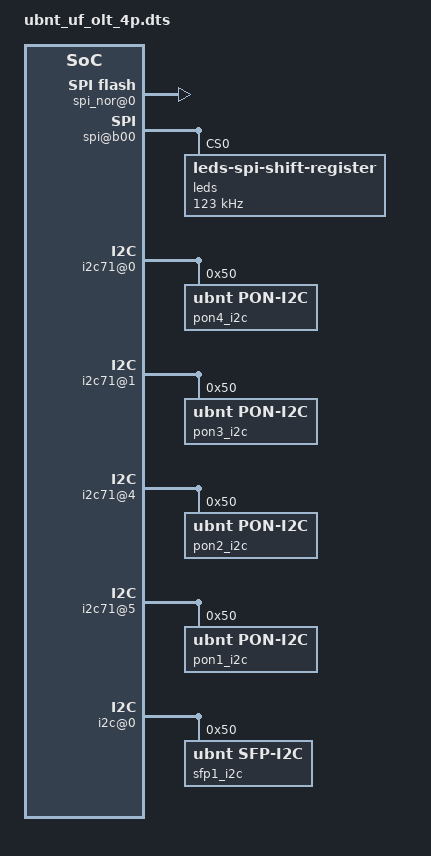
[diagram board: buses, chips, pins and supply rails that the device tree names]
/dts-v1/;
/plugin/;

/ {
	compatible = "ubiquiti,ufolt4p";

	fragment@0 {
		target-path = "/palmbus@1E000000/spi@b00";
		__overlay__ {
			#address-cells = <1>;
			#size-cells = <0>;
			leds {
				compatible = "leds-spi-shift-register";
				status = "ok";
				reg = <0>;
				spi-max-frequency = <123000>;
				words = <3>;
				#address-cells = <1>;
				#size-cells = <0>;
				pon1_green {
					reg = <8>;
				};
				pon1_white {
					reg = <9>;
				};
				pon2_green {
					reg = <10>;
				};
				pon2_white {
					reg = <11>;
				};
				pon3_green {
					reg = <12>;
				};
				pon3_white {
					reg = <13>;
				};
				pon4_green {
					reg = <14>;
				};
				pon4_white {
					reg = <15>;
				};
				sfp1_green {
					reg = <16>;
				};
				sfp1_white {
					reg = <17>;
				};
				mgmt_green {
					reg = <20>;
				};
				mgmt_orange {
					reg = <21>;
				};
			};
		};
	};
	fragment@1 {
		target-path = "/palmbus@1E000000/i2c@900/i2c-switch@71/i2c71@0";
		__overlay__ {
			#address-cells = <1>;
			#size-cells = <0>;
			pon4_i2c: pon@1 {
				compatible = "ubnt,pon-i2c";
				reg = <0x50>;
			};
		};
	};
	fragment@2 {
		target-path = "/palmbus@1E000000/i2c@900/i2c-switch@71/i2c71@1";
		__overlay__ {
			#address-cells = <1>;
			#size-cells = <0>;
			pon3_i2c: pon@2 {
				compatible = "ubnt,pon-i2c";
				reg = <0x50>;
			};
		};
	};
	fragment@3 {
		target-path = "/palmbus@1E000000/i2c@900/i2c-switch@71/i2c71@4";
		__overlay__ {
			#address-cells = <1>;
			#size-cells = <0>;
			pon2_i2c: pon@5 {
				compatible = "ubnt,pon-i2c";
				reg = <0x50>;
			};
		};
	};
	fragment@4 {
		target-path = "/palmbus@1E000000/i2c@900/i2c-switch@71/i2c71@5";
		__overlay__ {
			#address-cells = <1>;
			#size-cells = <0>;
			pon1_i2c: pon@6 {
				compatible = "ubnt,pon-i2c";
				reg = <0x50>;
			};
		};
	};
	fragment@5 {
		target-path = "/palmbus@1E000000/i2c@900/i2c-switch@72/i2c@0";
		__overlay__ {
			#address-cells = <1>;
			#size-cells = <0>;
			sfp1_i2c: sfp@1 {
				compatible = "ubnt,sfp-i2c";
				reg = <0x50>;
			};
		};
	};
	fragment@7 {
		target-path = "/";
		__overlay__ {
			ubnt_platform {
				compatible = "ubnt_platform_olt";
				#address-cells = <1>;
				#size-cells = <0>;
				spi_nor@0 {
					status = "okay";
					spi_nor = <&spi_nor>;
				};
				sfp@1 {
					i2c = <&sfp1_i2c>;
					gpio_present  = <&gpio_i2c_21 8 1>;
					reg = <1>;
				};
				pon@1 {
					i2c = <&pon1_i2c>;
					gpio_present  = <&gpio_i2c_21 5 1>;
					reg = <1>;
				};
				pon@2 {
					i2c = <&pon2_i2c>;
					gpio_present  = <&gpio_i2c_21 4 1>;
					reg = <2>;
				};
				pon@5 {
					i2c = <&pon3_i2c>;
					gpio_present  = <&gpio_i2c_21 1 1>;
					reg = <3>;
				};
				pon@4 {
					i2c = <&pon4_i2c>;
					gpio_present  = <&gpio_i2c_21 0 1>;
					reg = <4>;
				};
			};
		};
	};
};
